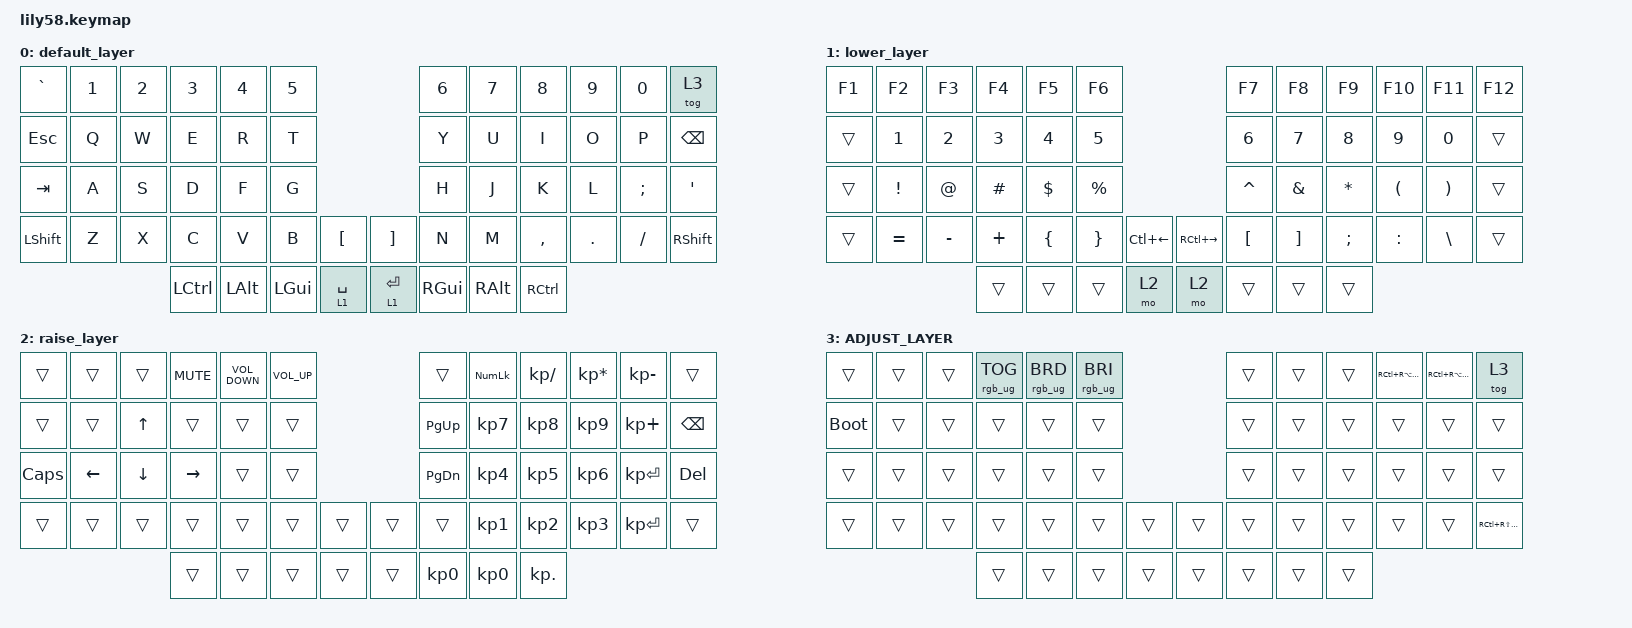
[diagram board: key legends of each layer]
/*
 * Copyright (c) 2020 The ZMK Contributors
 *
 * SPDX-License-Identifier: MIT
 */

#include <behaviors.dtsi>
#include <dt-bindings/zmk/keys.h>
#include <dt-bindings/zmk/rgb.h>

/ {
    keymap {
        compatible = "zmk,keymap";

        default_layer {
            // ------------------------------------------------------------------------------------------------------------
            // |  ESC  |  1  |  2  |  3   |  4   |  5   |                   |  6   |  7    |  8    |  9   |   0   |   `   |
            // |  TAB  |  Q  |  W  |  E   |  R   |  T   |                   |  Y   |  U    |  I    |  O   |   P   |   -   |
            // |  CTRL |  A  |  S  |  D   |  F   |  G   |                   |  H   |  J    |  K    |  L   |   ;   |   '   |
            // | SHIFT |  Z  |  X  |  C   |  V   |  B   |   "["  |  |  "]"  |  N   |  M    |  ,    |  .   |   /   | SHIFT |
            //                     | ALT  | GUI  | LOWER|  SPACE |  | ENTER | RAISE| BSPC  | GUI   |

            bindings = <
&kp GRAVE  &kp N1  &kp N2  &kp N3            &kp N4        &kp N5                                    &kp N6         &kp N7         &kp N8             &kp N9   &kp N0    &tog 3
&kp ESC    &kp Q   &kp W   &kp E             &kp R         &kp T                                     &kp Y          &kp U          &kp I              &kp O    &kp P     &kp BACKSPACE
&kp TAB    &kp A   &kp S   &kp D             &kp F         &kp G                                     &kp H          &kp J          &kp K              &kp L    &kp SEMI  &kp SQT
&kp LSHFT  &kp Z   &kp X   &kp C             &kp V         &kp B         &kp LBKT       &kp RBKT     &kp N          &kp M          &kp COMMA          &kp DOT  &kp FSLH  &kp RSHFT
                           &kp LEFT_CONTROL  &kp LEFT_ALT  &kp LEFT_GUI  &lt 1 SPACE    &lt 1 ENTER  &kp RIGHT_GUI  &kp RIGHT_ALT  &kp RIGHT_CONTROL
            >;
        };

        lower_layer {
            // ------------------------------------------------------------------------------------------------------------
            // | BTCLR | BT1 | BT2 |  BT3 |  BT4 |  BT5 |                   |      |       |       |      |       |       |
            // |  F1   |  F2 |  F3 |  F4  |  F5  |  F6  |                   |  F7  |  F8   |  F9   |  F10 |  F11  |  F12  |
            // |   `   |  !  |  @  |  #   |  $   |  %   |                   |  ^   |  &    |  *    |  (   |   )   |   ~   |
            // |       |     |     |      |      |      |        |  |       |      |  _    |  +    |  {   |   }   |  "|"  |
            //                     |      |      |      |        |  |       |      |       |       |

            bindings = <
&kp F1  &kp F2     &kp F3     &kp F4    &kp F5      &kp F6                                    &kp F7     &kp F8    &kp F9     &kp F10    &kp F11        &kp F12
&trans  &kp N1     &kp N2     &kp N3    &kp N4      &kp N5                                    &kp N6     &kp N7    &kp N8     &kp N9     &kp N0         &trans
&trans  &kp EXCL   &kp AT     &kp HASH  &kp DOLLAR  &kp PRCNT                                 &kp CARET  &kp AMPS  &kp ASTRK  &kp LPAR   &kp RPAR       &trans
&trans  &kp EQUAL  &kp MINUS  &kp PLUS  &kp LBRC    &kp RBRC   &kp LC(LEFT)    &kp RC(RIGHT)  &kp LBKT   &kp RBKT  &kp SEMI   &kp COLON  &kp BACKSLASH  &trans
                              &trans    &trans      &trans     &mo 2           &mo 2          &trans     &trans    &trans
            >;
        };

        raise_layer {
            // ------------------------------------------------------------------------------------------------------------
            // |       |     |     |      |      |      |                   |      |       |       |      |       |       |
            // |   `   |  1  |  2  |  3   |  4   |  5   |                   |  6   |   7   |   8   |  9   |   0   |       |
            // |   F1  |  F2 |  F3 |  F4  |  F5  |  F6  |                   |      |   <-  |   v   |  ^   |  ->   |       |
            // |   F7  |  F8 |  F9 |  F10 |  F11 |  F12 |        |  |       |  +   |   -   |   =   |  [   |   ]   |   \   |
            //                     |      |      |      |        |  |       |      |       |       |

            bindings = <
&trans    &trans    &trans          &kp K_MUTE  &kp K_VOLUME_DOWN  &kp K_VOLUME_UP                    &trans           &kp KP_NUMLOCK   &kp KP_SLASH     &kp KP_MULTIPLY  &kp KP_MINUS  &trans
&trans    &trans    &kp UP_ARROW    &trans      &trans             &trans                             &kp PAGE_UP      &kp KP_NUMBER_7  &kp KP_NUMBER_8  &kp KP_NUMBER_9  &kp KP_PLUS   &kp BACKSPACE
&kp CAPS  &kp LEFT  &kp DOWN_ARROW  &kp RIGHT   &trans             &trans                             &kp PAGE_DOWN    &kp KP_NUMBER_4  &kp KP_NUMBER_5  &kp KP_NUMBER_6  &kp KP_ENTER  &kp DEL
&trans    &trans    &trans          &trans      &trans             &trans           &trans    &trans  &trans           &kp KP_NUMBER_1  &kp KP_NUMBER_2  &kp KP_NUMBER_3  &kp KP_ENTER  &trans
                                    &trans      &trans             &trans           &trans    &trans  &kp KP_NUMBER_0  &kp KP_NUMBER_0  &kp KP_DOT
            >;
        };

        ADJUST_LAYER {
            bindings = <
&trans       &trans  &trans  &rgb_ug RGB_TOG  &rgb_ug RGB_BRD  &rgb_ug RGB_BRI                    &trans  &trans  &trans  &kp RC(RA(END))  &kp RC(RA(DEL))  &tog 3
&bootloader  &trans  &trans  &trans           &trans           &trans                             &trans  &trans  &trans  &trans           &trans           &trans
&trans       &trans  &trans  &trans           &trans           &trans                             &trans  &trans  &trans  &trans           &trans           &trans
&trans       &trans  &trans  &trans           &trans           &trans           &trans    &trans  &trans  &trans  &trans  &trans           &trans           &kp RC(RS(END))
                             &trans           &trans           &trans           &trans    &trans  &trans  &trans  &trans
            >;
        };
    };
};
